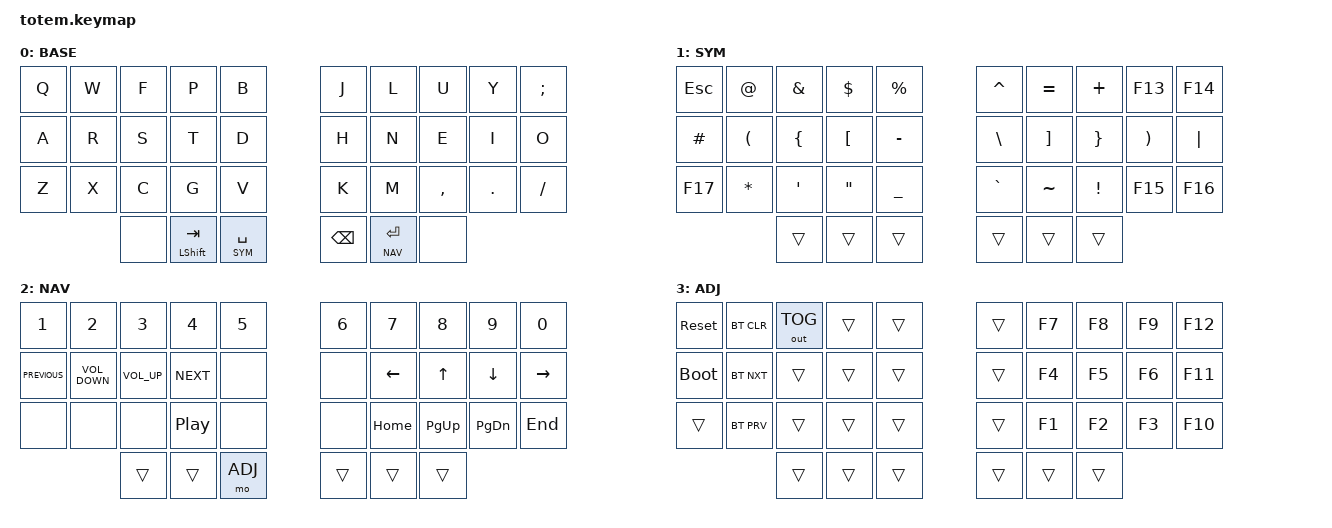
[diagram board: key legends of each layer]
//
//                                                        ▀▀▀▀▀     ▀▀▀▀▀          ▀▀█▀▀
//                                                        ▄▀▀▀▄  ▄  ▄▀▀▀▄  ▄  ▄▀▀▀▄  █  ▄▀▀▀▄
//                                                         ▀▀▀   █   ▀▀▀   █   ▀▀▀   ▀   ▀▀▀
//                                                               █      ▄▄▄█▄▄▄    █   █  
//                                                               ▀      █  █  █     █▄█
//                                                             ▀▀▀▀▀    █  █  █      ▀
//                                                                      ▀  ▀  ▀
//
// ▄▄▄▄▄▄▄▄▄▄▄▄▄▄▄▄▄▄▄▄▄▄▄▄▄▄▄▄▄▄▄▄▄▄▄▄▄▄▄▄▄▄▄▄▄▄▄▄▄▄▄▄▄▄▄▄▄▄▄▄▄▄▄▄▄▄▄▄▄▄▄▄▄▄▄▄▄▄▄▄▄▄▄▄▄▄▄▄▄▄▄▄▄▄▄▄▄▄▄▄▄▄▄▄▄▄▄▄▄▄▄▄▄▄▄▄▄▄▄▄▄▄▄▄▄▄▄▄▄▄▄▄▄▄▄▄▄▄▄▄▄▄▄▄▄▄▄▄▄
       

#include <behaviors.dtsi>
#include <dt-bindings/zmk/keys.h>
#include <dt-bindings/zmk/bt.h>
#include <dt-bindings/zmk/outputs.h>

#define BASE 0
#define SYM 1
#define NAV 2
#define ADJ 3

&mt {
  quick-tap-ms = <100>;
  global-quick-tap;
  flavor = "tap-preferred";
  tapping-term-ms = <170>;
};

&lt {
  quick-tap-ms = <100>;
  global-quick-tap;
  flavor = "hold-preferred";
  tapping-term-ms = <170>;
};

/ {
    macros {
            gif: gif {
                label = "giphy";
                compatible = "zmk,behavior-macro";
                #binding-cells = <0>;
                bindings
                    = <&macro_press &kp LSHFT>
                    , <&macro_tap &kp N2>
                    , <&macro_release &kp LSHFT>
                    , <&macro_tap &kp G &kp I &kp F>
                    ;
            };
    };
     combos {
            compatible = "zmk,combos";
            combo_gui {
                timeout-ms = <50>;
                key-positions = <11 13>;
                bindings = <&sk LGUI>;
            };
            combo_ctrl {
                timeout-ms = <50>;
                key-positions = <16 18>;
                bindings = <&sk LCTRL>;
            };
    };

        keymap {
                compatible = "zmk,keymap";
// ▄▄▄▄▄▄▄▄▄▄▄▄▄▄▄▄▄▄▄▄▄▄▄▄▄▄▄▄▄▄▄▄▄▄▄▄▄▄▄▄▄▄▄▄▄▄▄▄▄▄▄▄▄▄▄▄▄▄▄▄▄▄▄▄▄▄▄▄▄▄▄▄▄▄▄▄▄▄▄▄▄▄▄▄▄▄▄▄▄▄▄▄▄▄▄▄▄▄▄▄▄▄▄▄▄▄▄▄▄▄▄▄▄▄▄▄▄▄▄▄▄▄▄▄▄▄▄▄▄▄▄▄▄▄▄▄▄▄▄▄▄▄▄▄▄▄▄▄▄

                base_layer {
label= "BASE";
// ┏━━━━━━━━━━━┳━━━━━━━━━━━┳━━━━━━━━━━━┳━━━━━━━━━━━┳━━━━━━━━━━━┓   ┏━━━━━━━━━━━┳━━━━━━━━━━━┳━━━━━━━━━━━┳━━━━━━━━━━━┳━━━━━━━━━━━┓
// ┃     Q     ┃     W     ┃     F     ┃     P     ┃     G     ┃   ┃     J     ┃     L     ┃     U     ┃     Y     ┃     ;     ┃
// ┣━━━━━━━━━━━╋━━━━━━━━━━━╋━━━━━━━━━━━╋━━━━━━━━━━━╋━━━━━━━━━━━┫   ┣━━━━━━━━━━━╋━━━━━━━━━━━╋━━━━━━━━━━━╋━━━━━━━━━━━╋━━━━━━━━━━━┫
// ┃     A     ┃     R     ┃     S     ┃     T     ┃     D     ┃   ┃     H     ┃     N     ┃     E     ┃     I     ┃     O     ┃
// ┣━━━━━━━━━━━╋━━━━━━━━━━━╋━━━━━━━━━━━╋━━━━━━━━━━━╋━━━━━━━━━━━┫   ┣━━━━━━━━━━━╋━━━━━━━━━━━╋━━━━━━━━━━━╋━━━━━━━━━━━╋━━━━━━━━━━━┫
// ┃     Q     ┃     Z     ┃     X     ┃     C     ┃     V     ┃   ┃     K     ┃     M     ┃     ,     ┃     .     ┃     /     ┃
// ┗━━━━━━━━━━━┻━━━━━━━━━━━╋━━━━━━━━━━━╋━━━━━━━━━━━╋━━━━━━━━━━━┫   ┣━━━━━━━━━━━╋━━━━━━━━━━━╋━━━━━━━━━━━╋━━━━━━━━━━━┻━━━━━━━━━━━┛
//                         ┃           ┃    TAB    ┃    SPC    ┃   ┃   BSPC    ┃    ENT    ┃           ┃
//                         ┗━━━━━━━━━━━┻━━━━━━━━━━━┻━━━━━━━━━━━┛   ┗━━━━━━━━━━━┻━━━━━━━━━━━┻━━━━━━━━━━━┛
 bindings = <
     &kp Q       &kp W       &kp F       &kp P       &kp B           &kp J       &kp L       &kp U       &kp Y       &kp SEMI
     &kp A       &kp R       &kp S       &kp T       &kp D           &kp H       &kp N       &kp E       &kp I       &kp O
     &kp Z       &kp X       &kp C       &kp G       &kp V           &kp K       &kp M       &kp COMMA   &kp DOT     &kp FSLH
                             &none   &mt LSHFT TAB   &lt SYM SPACE   &kp BSPC    &lt NAV RET &none
                        >;
                };

// ▄▄▄▄▄▄▄▄▄▄▄▄▄▄▄▄▄▄▄▄▄▄▄▄▄▄▄▄▄▄▄▄▄▄▄▄▄▄▄▄▄▄▄▄▄▄▄▄▄▄▄▄▄▄▄▄▄▄▄▄▄▄▄▄▄▄▄▄▄▄▄▄▄▄▄▄▄▄▄▄▄▄▄▄▄▄▄▄▄▄▄▄▄▄▄▄▄▄▄▄▄▄▄▄▄▄▄▄▄▄▄▄▄▄▄▄▄▄▄▄▄▄▄▄▄▄▄▄▄▄▄▄▄▄▄▄▄▄▄▄▄▄▄▄▄▄▄▄▄


                sim_layer {
label= "SYM";
 bindings = <
    &kp ESC     &kp AT_SIGN      &kp AMPERSAND    &kp DOLLAR     &kp PERCENT           &kp CARET  &kp EQUAL  &kp PLUS  &kp F13  &kp F14
    &kp HASH    &kp LPAR         &kp LBRC         &kp LBKT       &kp MINUS             &kp BSLH   &kp RBKT   &kp RBRC  &kp RPAR  &kp PIPE
    &kp F17     &kp ASTERISK     &kp SQT          &kp DQT        &kp UNDERSCORE        &kp GRAVE  &kp TILDE  &kp EXCL  &kp F15  &kp F16
                                 &trans           &trans         &trans                &trans     &trans     &trans
                        >;
                };

// ▄▄▄▄▄▄▄▄▄▄▄▄▄▄▄▄▄▄▄▄▄▄▄▄▄▄▄▄▄▄▄▄▄▄▄▄▄▄▄▄▄▄▄▄▄▄▄▄▄▄▄▄▄▄▄▄▄▄▄▄▄▄▄▄▄▄▄▄▄▄▄▄▄▄▄▄▄▄▄▄▄▄▄▄▄▄▄▄▄▄▄▄▄▄▄▄▄▄▄▄▄▄▄▄▄▄▄▄▄▄▄▄▄▄▄▄▄▄▄▄▄▄▄▄▄▄▄▄▄▄▄▄▄▄▄▄▄▄▄▄▄▄▄▄▄▄▄▄▄


                nav_layer {
label= "NAV";
 bindings = <
                &kp N1            &kp N2               &kp N3             &kp N4      &kp N5                &kp N6      &kp N7      &kp N8      &kp N9      &kp N0
                &kp C_PREVIOUS    &kp C_VOLUME_DOWN    &kp C_VOLUME_UP    &kp C_NEXT  &none                 &none       &kp LEFT    &kp UP      &kp DOWN    &kp RIGHT
                &none             &none                &none              &kp C_PP    &none                 &none       &kp HOME    &kp PG_UP   &kp PG_DN   &kp END
                                                       &trans             &trans      &mo ADJ               &trans      &trans      &trans
                        >;
                };

// ▄▄▄▄▄▄▄▄▄▄▄▄▄▄▄▄▄▄▄▄▄▄▄▄▄▄▄▄▄▄▄▄▄▄▄▄▄▄▄▄▄▄▄▄▄▄▄▄▄▄▄▄▄▄▄▄▄▄▄▄▄▄▄▄▄▄▄▄▄▄▄▄▄▄▄▄▄▄▄▄▄▄▄▄▄▄▄▄▄▄▄▄▄▄▄▄▄▄▄▄▄▄▄▄▄▄▄▄▄▄▄▄▄▄▄▄▄▄▄▄▄▄▄▄▄▄▄▄▄▄▄▄▄▄▄▄▄▄▄▄▄▄▄▄▄▄▄▄▄


                adjust_layer {
// ┏━━━━━━━━━━━━━━━━━━━━━━━━━━━━━━━━━━━━━━━┓
label= "ADJ"                               ;
// ┗━━━━━━━━━━━━━━━━━━━━━━━━━━━━━━━━━━━━━━━┛
//             ┏━━━━━━━━━━━┳━━━━━━━━━━━┳━━━━━━━━━━━┳━━━━━━━━━━━┳━━━━━━━━━━━┓   ┏━━━━━━━━━━━┳━━━━━━━━━━━┳━━━━━━━━━━━┳━━━━━━━━━━━┳━━━━━━━━━━━┓
//             ┃   RESET   ┃ BT CLEAR  ┃  OUT TOG  ┃           ┃           ┃   ┃           ┃    F7     ┃    F8     ┃    F9     ┃    F12    ┃
//             ┣━━━━━━━━━━━╋━━━━━━━━━━━╋━━━━━━━━━━━╋━━━━━━━━━━━╋━━━━━━━━━━━┫   ┣━━━━━━━━━━━╋━━━━━━━━━━━╋━━━━━━━━━━━╋━━━━━━━━━━━╋━━━━━━━━━━━┫
//             ┃ BOOTLOAD  ┃ BT NEXT   ┃           ┃           ┃           ┃   ┃           ┃    F4     ┃    F5     ┃    F6     ┃    F11    ┃
// ┏━━━━━━━━━━━╋━━━━━━━━━━━╋━━━━━━━━━━━╋━━━━━━━━━━━╋━━━━━━━━━━━╋━━━━━━━━━━━┫   ┣━━━━━━━━━━━╋━━━━━━━━━━━╋━━━━━━━━━━━╋━━━━━━━━━━━╋━━━━━━━━━━━╋━━━━━━━━━━━┓
// ┃           ┃           ┃ BT PREV   ┃           ┃           ┃           ┃   ┃           ┃    F1     ┃    F2     ┃    F3     ┃    F10    ┃           ┃
// ┗━━━━━━━━━━━┻━━━━━━━━━━━┻━━━━━━━━━━━╋━━━━━━━━━━━╋━━━━━━━━━━━╋━━━━━━━━━━━┫   ┣━━━━━━━━━━━╋━━━━━━━━━━━╋━━━━━━━━━━━╋━━━━━━━━━━━┻━━━━━━━━━━━┻━━━━━━━━━━━┛
//                                     ┃           ┃           ┃           ┃   ┃           ┃           ┃           ┃
//                                     ┗━━━━━━━━━━━┻━━━━━━━━━━━┻━━━━━━━━━━━┛   ┗━━━━━━━━━━━┻━━━━━━━━━━━┻━━━━━━━━━━━┛
 bindings = <
// ╷           ╷           ╷           ╷           ╷           ╷           ╷   ╷           ╷           ╷           ╷           ╷           ╷           ╷

                &sys_reset  &bt BT_CLR &out OUT_TOG &trans      &trans          &trans      &kp F7      &kp F8      &kp F9      &kp F12
                &bootloader &bt BT_NXT  &trans      &trans      &trans          &trans      &kp F4      &kp F5      &kp F6      &kp F11  
                &trans      &bt BT_PRV  &trans      &trans      &trans          &trans      &kp F1      &kp F2      &kp F3      &kp F10 
                                        &trans      &trans      &trans          &trans      &trans      &trans      
                        >;
                };
        };
};
